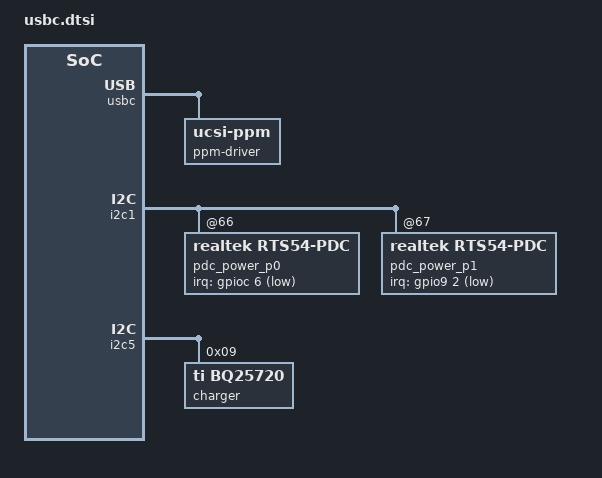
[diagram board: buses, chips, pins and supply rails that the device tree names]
/* Copyright 2025 The ChromiumOS Authors
 * Use of this source code is governed by a BSD-style license that can be
 * found in the LICENSE file.
 */

#include <usbc-policy.dtsi>

 /{
	usbc {
		#address-cells = <1>;
		#size-cells = <0>;
		usbc_port0: port0@0 {
			compatible = "named-usbc-port";
			reg = <0>;
			chg = <&charger>;
			pdc = <&pdc_power_p0>;
			policy = <&cros_policy>;
		};
		usbc_port1: port1@1 {
			compatible = "named-usbc-port";
			reg = <1>;
			pdc = <&pdc_power_p1>;
			pd-retimer;
			policy = <&cros_policy>;
		};
		ppm-driver {
			compatible = "ucsi-ppm";
		};
	};
};

&i2c1 {
	pdc_power_p0: rts54-pdc@66 {
		compatible = "realtek,rts54-pdc";
		status = "okay"
		reg = <0x66>;
		irq-gpios = <&gpioc 6 GPIO_ACTIVE_LOW>;
	};
	pdc_power_p1: rts54-pdc@67 {
		compatible = "realtek,rts54-pdc";
		status = "okay"
		reg = <0x67>;
		irq-gpios = <&gpio9 2 GPIO_ACTIVE_LOW>;
	};
};

&i2c5 {
	charger: bq25720@9 {
		compatible = "ti,bq25720";
		status = "okay";
		reg = <0x9>;
	};
};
